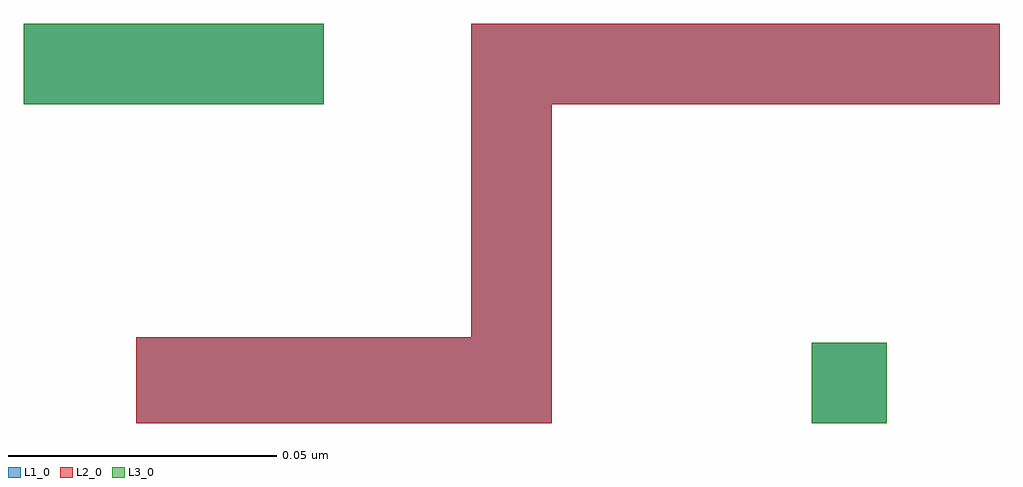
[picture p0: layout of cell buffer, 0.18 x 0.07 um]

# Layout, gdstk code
import gdstk
lib = gdstk.Library(unit=1e-6, precision=5e-10)
def R(c, l, rs):  # rectangles x0, y0, x1, y1
    for r in rs: c.add(gdstk.rectangle(r[:2], r[2:], *l))
def P(c, l, *ps):  # polygons
    for p in ps: c.add(gdstk.Polygon(p, *l))
L1_0 = (1, 0)
L2_0 = (2, 0)
L3_0 = (3, 0)

inv = lib.new_cell('inv')
R(inv, L1_0, [(0.0695,0.039,0.0835,0.054), (0.0485,0.0985,0.1045,0.1135)])

buffer = lib.new_cell('buffer')
R(buffer, L1_0, [(0.217,0.0435,0.2275,0.053)])
P(buffer, L1_0, [(0.1945,0.114),(0.1945,0.099),(0.167,0.099),(0.167,0.0395),(0.0895,0.0395),(0.0895,0.0555),(0.152,0.0555),(0.152,0.114)])
P(buffer, L2_0, [(0.2505,0.114),(0.2505,0.099),(0.167,0.099),(0.167,0.0395),(0.0895,0.0395),(0.0895,0.0555),(0.152,0.0555),(0.152,0.114)])
R(buffer, L3_0, [(0.2155,0.0395,0.2295,0.0545), (0.0685,0.099,0.1245,0.114)])
buffer.add(gdstk.Reference(inv, (0.146,0.0005)))
buffer.add(gdstk.Reference(inv, (0.02,0.0005)))

lib.write_gds('buffer.gds')
